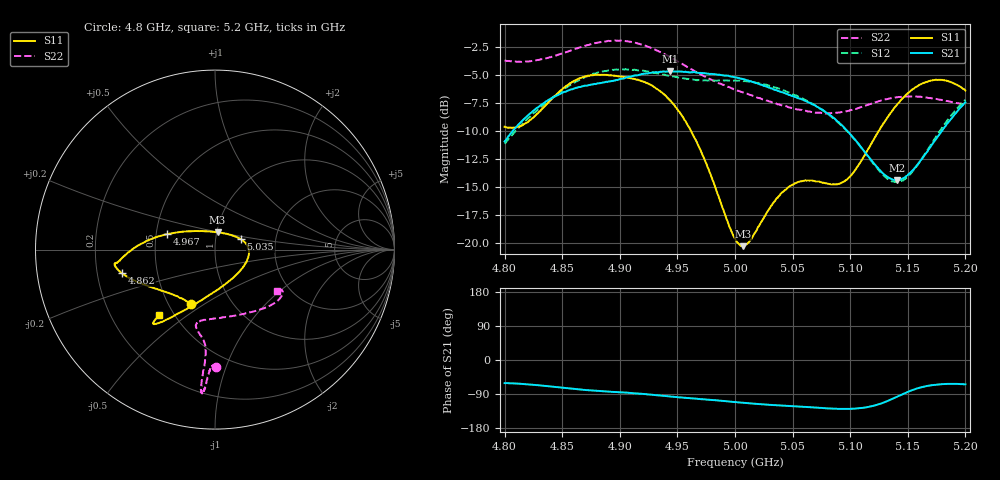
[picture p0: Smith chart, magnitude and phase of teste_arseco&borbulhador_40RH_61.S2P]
! Network Analyzer HP8722D
! Hewlett-Packard
! Data name: Linha & Wilkinson
! Saver's name: Rodrigo Anjos
! Comments: Teste da utilização de aquisição
! continua pelo VNA HP8722D
! Time and date: 15/4/2025 16:51
!  Frequency  S11  S21  S12  S22
# HZ  S  MA R 50
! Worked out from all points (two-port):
!   401 points, 4.8 GHz to 5.2 GHz, reference 50 ohm
!   highest |S21| = -4.64 dB at 4.944 GHz (marker M1); lowest = -14.4 dB at 5.141 GHz (marker M2)
!   |S21| within 3 dB of the highest: 4.832 GHz to 5.069 GHz (236.8 MHz wide, 4.78 % of centre); 5.197989 GHz to end of sweep
!   lowest |S11| = -20.3 dB at 5.007 GHz (marker M3), VSWR 1.21, Z = 50.5 + j9.78 ohm
!   |S11| at or under -10 dB: 4.962 GHz to 5.125 GHz (162.7 MHz wide, 3.23 % of centre)
!   |S22| runs from -8.4 to -1.9 dB; largest |S21 - S12| = 0.88
!   S11 on the Smith chart (normalised r, x): 4.8 GHz: 0.65, -0.44; 4.862 GHz: 0.31, -0.11; 4.967 GHz: 0.57, +0.11; 5.035 GHz: 1.33, +0.16; 5.2 GHz: 0.41, -0.39
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4.8e9  0.3312 -114.0  0.2848 -61.0  0.2783 -175.1  0.6542 -89.6
4.819e9  0.3454 -133.9  0.3677 -63.9  0.3552 -173.4  0.6481 -91.2
4.862e9  0.5356 -165.9  0.4948 -76.9  0.5273 -176.7  0.7399 -93.6
4.867e9  0.5497 -167.8  0.5018 -78.3  0.5426 -177.6  0.7541 -93.8
4.902e9  0.554 -172.3  0.5426 -85.4  0.5978 175.1  0.8011 -95.4
4.934e9  0.4823 -178.2  0.5809 -93.6  0.5715 171.8  0.7181 -95.7
4.944e9  0.433 177.4  0.5861 -96.3  0.5579 171.9  0.6763 -95.5
4.967e9  0.2817 162.2  0.5776 -102.2  0.5343 173.8  0.5792 -95.1
5e9  0.1048 106.0  0.5508 -111.1  0.5338 176.2  0.486 -99.3
5.007e9  0.097 81.7  0.541 -112.8  0.5294 176.3  0.4717 -101.1
5.014e9  0.1039 59.6  0.5291 -114.7  0.5258 176.1  0.4587 -102.7
5.035e9  0.1551 21.6  0.4832 -119.2  0.4956 175.0  0.423 -103.8
5.05e9  0.1826 6.1  0.4543 -121.8  0.4634 174.4  0.4012 -100.2
5.067e9  0.1904 -12.3  0.4171 -124.8  0.4206 173.8  0.3853 -91.7
5.086e9  0.1833 -42.8  0.362 -128.4  0.3594 173.7  0.382 -77.4
5.097e9  0.1917 -65.8  0.3189 -129.1  0.3175 174.3  0.3885 -68.3
5.134e9  0.3748 -116.5  0.1954 -106.1  0.1912 -159.0  0.4431 -43.4
5.141e9  0.4178 -120.5  0.1913 -96.3  0.1875 -148.0  0.4489 -40.3
5.153e9  0.4824 -125.3  0.2089 -80.5  0.2057 -129.7  0.4525 -36.0
5.17e9  0.5323 -128.9  0.2706 -66.8  0.2749 -112.9  0.4449 -32.2
5.184e9  0.5312 -130.1  0.3415 -63.2  0.3517 -107.3  0.4319 -31.2
5.2e9  0.4809 -130.6  0.4255 -64.2  0.4377 -106.3  0.4161 -33.5
